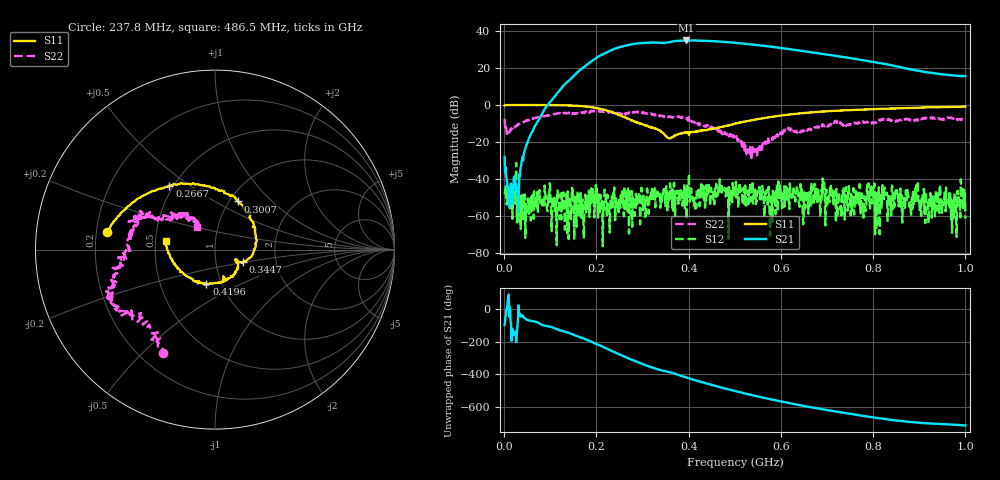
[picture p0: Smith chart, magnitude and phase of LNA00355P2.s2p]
! Created with skrf 1.9.0 (http://scikit-rf.org).
# Hz S RI R 50.0
!freq ReS11 ImS11 ReS21 ImS21 ReS12 ImS12 ReS22 ImS22
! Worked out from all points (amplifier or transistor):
!   1001 points, 1 MHz to 1 GHz, reference 50 ohm
!   highest |S21| = 34.9 dB at 394.6 MHz (marker M1)
!   |S21| within 3 dB of that: 259.8 MHz to 565.8 MHz (306 MHz wide, 74.1 % of centre)
!   unconditionally stable (mu >= 1): 4.529 MHz to 71.55 MHz; 239 MHz to 400.3 MHz; 400.9 MHz to end of sweep (the widest 3 of 27)
!   at 166.8 MHz: K = 3.22, MAG = 31.3 dB, |S12| = -59.1 dB
!   at 500.5 MHz: K = 2.18, MAG = 34.2 dB, |S12| = -47.0 dB
!   at 1 GHz: K = 15.40, MAG = 23.6 dB, |S12| = -61.5 dB
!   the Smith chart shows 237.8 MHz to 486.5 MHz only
!   S11 on the Smith chart (normalised r, x): 237.8 MHz: 0.24, +0.08; 266.7 MHz: 0.48, +0.42; 300.7 MHz: 1.10, +0.65; 344.7 MHz: 1.36, -0.19; 419.6 MHz: 0.85, -0.33; 486.5 MHz: 0.57, +0.06
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1000000  0.975 0.00473  -0.00569 -0.0395  -0.000338 -0.00379  0.3178 0.2788
1.08892e8  0.5072 -0.8541  -0.7721 -1.471  0.00197 -0.0024  0.4328 -0.3581
1.67833e8  -0.255 -0.8966  -9.588 -0.6067  -0.000636 0.000605  0.0549 -0.6303
2.08792e8  -0.6819 -0.3865  -15.46 15.56  0.00155 -0.00335  -0.2004 -0.6445
2.37763e8  -0.6024 0.0987  -4.175 32.41  -0.000649 -0.00312  -0.2881 -0.5782
2.66734e8  -0.2544 0.3565  20.23 36.29  0.00111 0.000538  -0.4616 -0.3683
3.007e8  0.1294 0.2682  44.04 18.1  0.000517 0.00134  -0.5605 -0.2103
3.18682e8  0.2209 0.1259  49 3.334  -0.00412 0.00228  -0.5667 -0.1405
3.34666e8  0.2136 -0.0143  47.34 -9.497  -0.00437 5.58e-05  -0.5391 -0.0429
3.44656e8  0.1572 -0.0691  44.81 -15.02  -0.000634 0.00385  -0.5021 -0.0135
3.68632e8  0.1291 -0.0704  43.84 -30.27  -0.0037 0.00696  -0.4496 0.1334
3.94606e8  0.0753 -0.1619  28.6 -47.85  0.00143 0.00211  -0.3867 0.1815
4.19581e8  -0.0482 -0.19  9.14 -54.53  0.00377 0.00215  -0.2729 0.1697
4.49551e8  -0.1832 -0.1245  -13.51 -51.71  0.00445 0.000129  -0.1529 0.2105
4.86514e8  -0.2757 0.0506  -33.33 -37.14  0.000117 -0.000214  -0.0997 0.1253
5.005e8  -0.2815 0.1275  -38.33 -29.73  -0.00423 -0.00144  -0.0972 0.1126
5.4046e8  -0.2044 0.3398  -42.01 -8.202  0.00246 0.000208  -0.0567 0.00983
5.86414e8  -0.00294 0.4924  -35.07 11.15  0.00399 0.00148  -0.1026 -0.0742
6.67333e8  0.3924 0.4971  -12.34 23.37  0.00224 -0.00298  -0.2323 -0.0608
7.53247e8  0.6736 0.2857  3.959 17.86  0.00131 -0.00135  -0.2943 0.0352
8.34166e8  0.7998 0.0245  8.85 8.512  -0.00399 0.000472  -0.4082 0.0862
1e9  0.7301 -0.5309  5.968 0.8263  0.00055 -0.000643  -0.1677 0.3662
